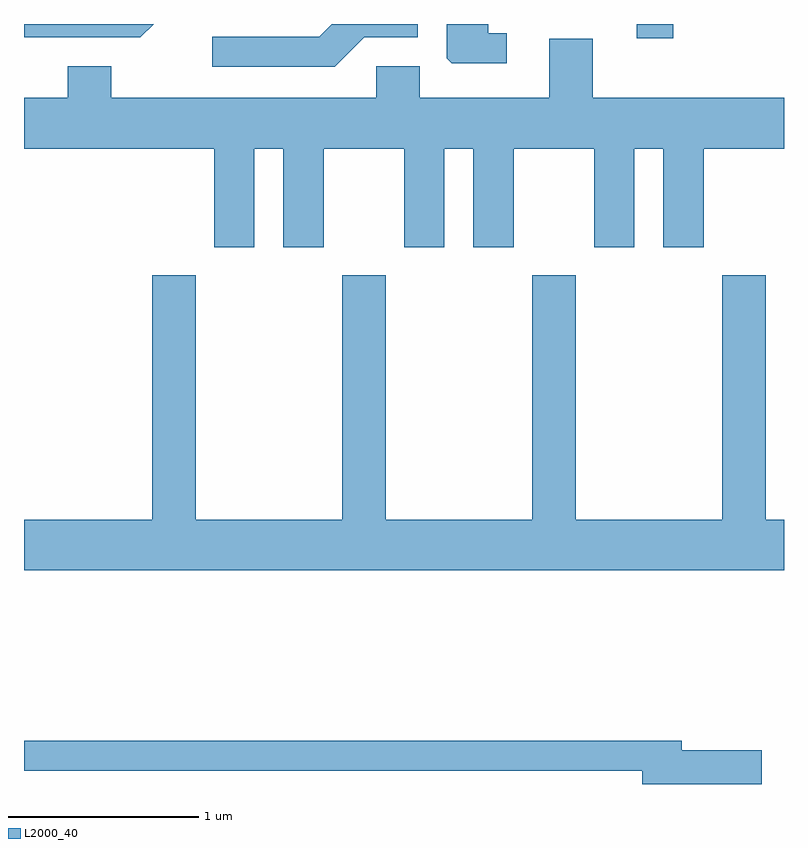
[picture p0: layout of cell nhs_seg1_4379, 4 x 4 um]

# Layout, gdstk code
import gdstk
lib = gdstk.Library(unit=1e-6, precision=1e-09)
def R(c, l, rs):  # rectangles x0, y0, x1, y1
    for r in rs: c.add(gdstk.rectangle(r[:2], r[2:], *l))
def P(c, l, *ps):  # polygons
    for p in ps: c.add(gdstk.Polygon(p, *l))
L2000_40 = (2000, 40)

nhs_seg1_4379 = lib.new_cell('nhs_seg1_4379')
R(nhs_seg1_4379, L2000_40, [(318.836,975.636,319.029,975.712)])
P(nhs_seg1_4379, L2000_40, [(317.402,975.641),(317.684,975.641),(317.684,975.712),(317.232,975.712),(317.164,975.644),(316.603,975.644),(316.603,975.486),(317.247,975.486)],
  [(316.293,975.712),(315.611,975.712),(315.611,975.641),(316.222,975.641)],
  [(318.153,975.664),(318.054,975.664),(318.054,975.712),(317.836,975.712),(317.836,975.532),(317.862,975.506),(318.153,975.506)],
  [(316.069,975.489),(315.841,975.489),(315.841,975.324),(315.611,975.324),(315.611,975.056),(316.611,975.056),(316.611,974.536),(316.824,974.536),(316.824,975.056),(316.976,975.056),(316.976,974.536),(317.189,974.536),(317.189,975.056),(317.611,975.056),(317.611,974.536),(317.824,974.536),(317.824,975.056),(317.976,975.056),(317.976,974.536),(318.189,974.536),(318.189,975.056),(318.611,975.056),(318.611,974.536),(318.824,974.536),(318.824,975.056),(318.976,975.056),(318.976,974.536),(319.189,974.536),(319.189,975.056),(319.611,975.056),(319.611,975.324),(318.604,975.324),(318.604,975.634),(318.376,975.634),(318.376,975.324),(317.694,975.324),(317.694,975.489),(317.466,975.489),(317.466,975.324),(316.069,975.324)],
  [(317.286,974.389),(317.286,973.104),(316.514,973.104),(316.514,974.389),(316.286,974.389),(316.286,973.104),(315.611,973.104),(315.611,972.836),(319.611,972.836),(319.611,973.104),(319.514,973.104),(319.514,974.389),(319.286,974.389),(319.286,973.104),(318.514,973.104),(318.514,974.389),(318.286,974.389),(318.286,973.104),(317.514,973.104),(317.514,974.389)],
  [(319.494,971.889),(319.074,971.889),(319.074,971.939),(315.611,971.939),(315.611,971.781),(318.866,971.781),(318.866,971.712),(319.494,971.712)])

lib.write_gds('nhs_seg1_4379.gds')
